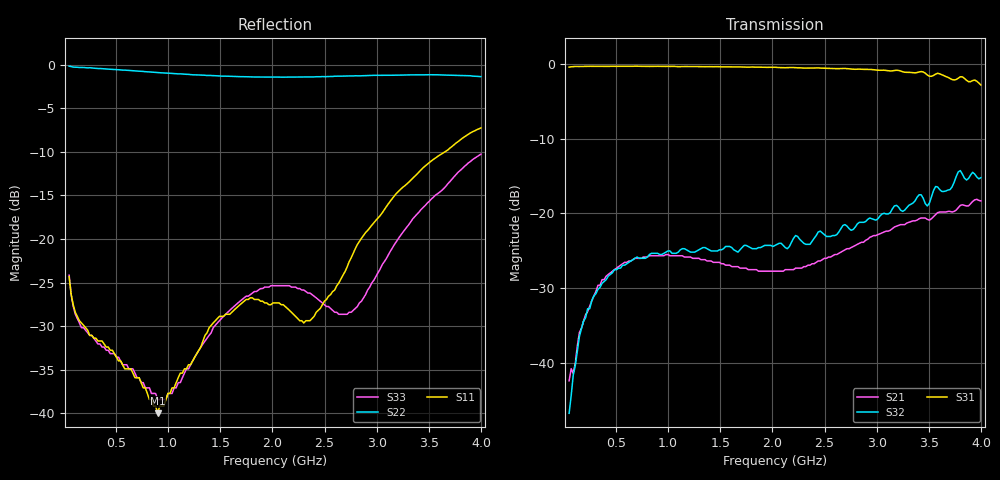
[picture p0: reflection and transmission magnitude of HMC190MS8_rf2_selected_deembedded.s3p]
!Hittite Microwave Corporation
!12 Elizabeth Drive
!Chelmsford, MA 01824
!Tel: 978-250-3343
!Fax: 978-250-3373
!Device: HMC190MS8, DC - 3 GHz SPDT switch in MSOP-8 package
!Misc: Port 1 = RFC, Port 2 = RF1, Port 3 = RF2, RF2 Selected, Bias: +3VDC
# MHZ S MA R 50
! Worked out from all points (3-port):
!   201 points, 50 MHz to 4 GHz, reference 50 ohm
!   strongest paths, dB at 50 MHz, 1.038 GHz, 2.025 GHz, 3.013 GHz, 4 GHz:
!     S31: -0.5, -0.4, -0.5, -0.9, -2.8
!     S32: -46.7, -25.4, -24.3, -20.7, -15.2
!     S21: -42.4, -25.7, -27.7, -22.9, -18.3
!   lowest |S11| = -40.0 dB at 899.2 MHz (marker M1), VSWR 1.02, Z = 51 - j0.3 ohm
!   |S11| at or under -10 dB: start of sweep to 3.655 GHz
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50  0.061 -45.8  0.006465 88.0  0.949 2.0
    0.007596 82.9  0.982 -11.2  0.005316 87.3
    0.949 2.1  0.0046 63.7  0.062 -46.6
168.5  0.033 -38.7  0.017 74.5  0.957 0.0
       0.017 76.5  0.965 -34.6  0.018 83.7
       0.958 0.1  0.017 82.4  0.031 -38.4
405.5  0.024 -45.3  0.037 51.0  0.96 -1.2
       0.038 51.9  0.947 -77.2  0.036 67.9
       0.96 -1.2  0.036 68.2  0.023 -46.5
642.5  0.018 -47.9  0.048 32.3  0.96 -2.1
       0.048 31.7  0.927 -111.5  0.048 58.0
       0.96 -2.0  0.048 59.1  0.018 -52.0
899.25  0.01 -17.1  0.053 13.8  0.96 -3.0
        0.052 14.0  0.902 -141.0  0.053 53.7
        0.961 -3.0  0.054 52.6  0.012 -36.0
1393  0.031 26.6  0.048 -15.7  0.955 -5.0
      0.048 -16.9  0.869 175.2  0.058 56.2
      0.956 -4.9  0.057 54.5  0.028 7.5
2025  0.043 25.8  0.038 -69.3  0.947 -7.8
      0.041 -67.7  0.85 131.9  0.061 70.9
      0.947 -8.0  0.061 71.9  0.054 -20.9
2360.75  0.034 58.5  0.046 -96.9  0.935 -9.8
         0.045 -96.5  0.853 113.2  0.066 82.0
         0.935 -9.7  0.062 84.0  0.049 -47.1
2755.75  0.078 106.6  0.059 -124.5  0.923 -12.7
         0.059 -122.6  0.863 94.5  0.081 94.5
         0.921 -13.0  0.077 92.3  0.038 -118.8
4000  0.434 102.0  0.114 -146.8  0.758 -28.6
      0.121 -146.9  0.855 52.5  0.187 92.8
      0.721 -27.3  0.173 98.3  0.307 136.2
